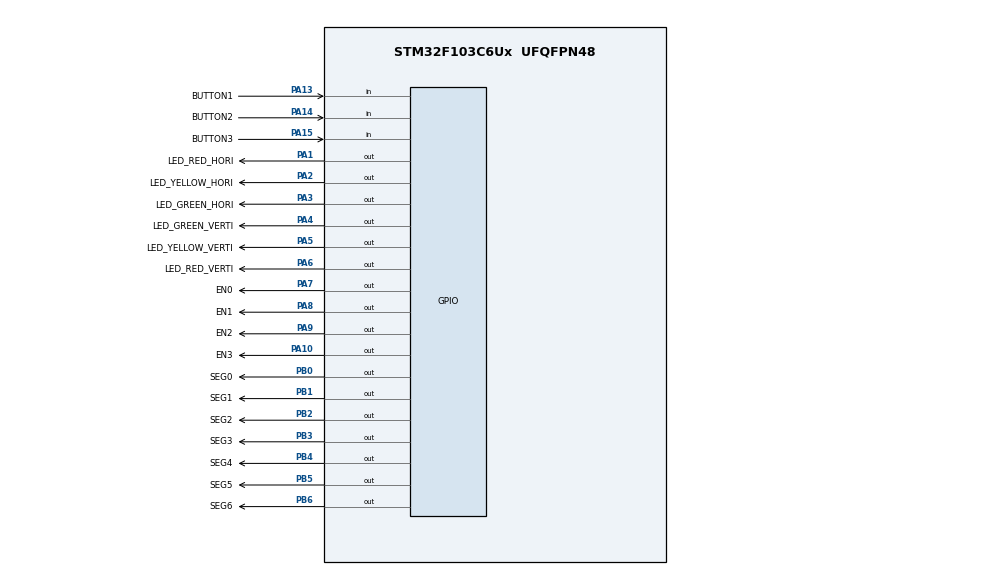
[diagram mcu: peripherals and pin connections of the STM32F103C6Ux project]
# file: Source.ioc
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Mcu.Family=STM32F1
Mcu.Name=STM32F103C6Ux
Mcu.Package=UFQFPN48
NVIC.PriorityGroup=NVIC_PRIORITYGROUP_4
NVIC.TIM2_IRQn=true\:0\:0\:false\:false\:true\:true\:true
PA1.GPIO_Label=LED_RED_HORI
PA1.Signal=GPIO_Output
PA10.GPIO_Label=EN3
PA10.Signal=GPIO_Output
PA13.GPIO_Label=BUTTON1
PA13.GPIO_PuPd=GPIO_PULLUP
PA13.Signal=GPIO_Input
PA14.GPIO_Label=BUTTON2
PA14.GPIO_PuPd=GPIO_PULLUP
PA14.Signal=GPIO_Input
PA15.GPIO_Label=BUTTON3
PA15.GPIO_PuPd=GPIO_PULLUP
PA15.Signal=GPIO_Input
PA2.GPIO_Label=LED_YELLOW_HORI
PA2.Signal=GPIO_Output
PA3.GPIO_Label=LED_GREEN_HORI
PA3.Signal=GPIO_Output
PA4.GPIO_Label=LED_GREEN_VERTI
PA4.Signal=GPIO_Output
PA5.GPIO_Label=LED_YELLOW_VERTI
PA5.Signal=GPIO_Output
PA6.GPIO_Label=LED_RED_VERTI
PA6.Signal=GPIO_Output
PA7.GPIO_Label=EN0
PA7.Signal=GPIO_Output
PA8.GPIO_Label=EN1
PA8.Signal=GPIO_Output
PA9.GPIO_Label=EN2
PA9.Signal=GPIO_Output
PB0.GPIO_Label=SEG0
PB0.Signal=GPIO_Output
PB1.GPIO_Label=SEG1
PB1.Signal=GPIO_Output
PB2.GPIO_Label=SEG2
PB2.Signal=GPIO_Output
PB3.GPIO_Label=SEG3
PB3.Signal=GPIO_Output
PB4.GPIO_Label=SEG4
PB4.Signal=GPIO_Output
PB5.GPIO_Label=SEG5
PB5.Signal=GPIO_Output
PB6.GPIO_Label=SEG6
PB6.Signal=GPIO_Output
ProjectManager.HeapSize=0x200
ProjectManager.StackSize=0x400
ProjectManager.TargetToolchain=STM32CubeIDE
RCC.APB1Freq_Value=8000000
RCC.APB2Freq_Value=8000000
TIM2.Period=9
TIM2.Prescaler=7999
VP_SYS_VS_ND.Mode=No_Debug
VP_TIM2_VS_ClockSourceINT.Mode=Internal
board=custom

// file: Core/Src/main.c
/* USER CODE BEGIN Header */
/**
  ******************************************************************************
  * @file           : main.c
  * @brief          : Main program body
  ******************************************************************************
  * @attention
  *
  * <h2><center>&copy; Copyright (c) 2023 STMicroelectronics.
  * All rights reserved.</center></h2>
  *
  * This software component is licensed by ST under BSD 3-Clause license,
  * the "License"; You may not use this file except in compliance with the
  * License. You may obtain a copy of the License at:
  *                        opensource.org/licenses/BSD-3-Clause
  *
  ******************************************************************************
  */
/* USER CODE END Header */
#include "main.h"

/* USER CODE BEGIN Includes */
#include "software_timer.h"
#include "button.h"
#include "fsm_automatic.h"
#include "fsm_manual.h"
/* USER CODE END Includes */

TIM_HandleTypeDef htim2;

void SystemClock_Config(void);
static void MX_GPIO_Init(void);
static void MX_TIM2_Init(void);

int main(void)
{

  /* MCU Configuration--------------------------------------------------------*/

  /* Reset of all peripherals, Initializes the Flash interface and the Systick. */
  HAL_Init();

  /* Configure the system clock */
  SystemClock_Config();

  /* Initialize all configured peripherals */
  MX_GPIO_Init();
  MX_TIM2_Init();
  /* USER CODE BEGIN 2 */
  HAL_TIM_Base_Start_IT(&htim2);
  /* USER CODE END 2 */

  /* Infinite loop */
  /* USER CODE BEGIN WHILE */
  while (1)
  {
	  fsm_automatic_run();
	  fsm_manual_run();
    /* USER CODE END WHILE */

  }
}

void SystemClock_Config(void)
{
  RCC_OscInitTypeDef RCC_OscInitStruct = {0};
  RCC_ClkInitTypeDef RCC_ClkInitStruct = {0};

  /** Initializes the RCC Oscillators according to the specified parameters
  * in the RCC_OscInitTypeDef structure.
  */
  RCC_OscInitStruct.OscillatorType = RCC_OSCILLATORTYPE_HSI;
  RCC_OscInitStruct.HSIState = RCC_HSI_ON;
  RCC_OscInitStruct.HSICalibrationValue = RCC_HSICALIBRATION_DEFAULT;
  RCC_OscInitStruct.PLL.PLLState = RCC_PLL_NONE;
  if (HAL_RCC_OscConfig(&RCC_OscInitStruct) != HAL_OK)
  {
    Error_Handler();
  }
  /** Initializes the CPU, AHB and APB buses clocks
  */
  RCC_ClkInitStruct.ClockType = RCC_CLOCKTYPE_HCLK|RCC_CLOCKTYPE_SYSCLK
                              |RCC_CLOCKTYPE_PCLK1|RCC_CLOCKTYPE_PCLK2;
  RCC_ClkInitStruct.SYSCLKSource = RCC_SYSCLKSOURCE_HSI;
  RCC_ClkInitStruct.AHBCLKDivider = RCC_SYSCLK_DIV1;
  RCC_ClkInitStruct.APB1CLKDivider = RCC_HCLK_DIV1;
  RCC_ClkInitStruct.APB2CLKDivider = RCC_HCLK_DIV1;

  if (HAL_RCC_ClockConfig(&RCC_ClkInitStruct, FLASH_LATENCY_0) != HAL_OK)
  {
    Error_Handler();
  }
}

static void MX_TIM2_Init(void)
{

  TIM_ClockConfigTypeDef sClockSourceConfig = {0};
  TIM_MasterConfigTypeDef sMasterConfig = {0};

  htim2.Instance = TIM2;
  htim2.Init.Prescaler = 7999;
  htim2.Init.CounterMode = TIM_COUNTERMODE_UP;
  htim2.Init.Period = 9;
  htim2.Init.ClockDivision = TIM_CLOCKDIVISION_DIV1;
  htim2.Init.AutoReloadPreload = TIM_AUTORELOAD_PRELOAD_DISABLE;
  if (HAL_TIM_Base_Init(&htim2) != HAL_OK)
  {
    Error_Handler();
  }
  sClockSourceConfig.ClockSource = TIM_CLOCKSOURCE_INTERNAL;
  if (HAL_TIM_ConfigClockSource(&htim2, &sClockSourceConfig) != HAL_OK)
  {
    Error_Handler();
  }
  sMasterConfig.MasterOutputTrigger = TIM_TRGO_RESET;
  sMasterConfig.MasterSlaveMode = TIM_MASTERSLAVEMODE_DISABLE;
  if (HAL_TIMEx_MasterConfigSynchronization(&htim2, &sMasterConfig) != HAL_OK)
  {
    Error_Handler();
  }

}

static void MX_GPIO_Init(void)
{
  GPIO_InitTypeDef GPIO_InitStruct = {0};

  /* GPIO Ports Clock Enable */
  __HAL_RCC_GPIOA_CLK_ENABLE();
  __HAL_RCC_GPIOB_CLK_ENABLE();

  /*Configure GPIO pin Output Level */
  HAL_GPIO_WritePin(GPIOA, LED_RED_HORI_Pin|LED_YELLOW_HORI_Pin|LED_GREEN_HORI_Pin|LED_GREEN_VERTI_Pin
                          |LED_YELLOW_VERTI_Pin|LED_RED_VERTI_Pin|EN0_Pin|EN1_Pin
                          |EN2_Pin|EN3_Pin, GPIO_PIN_RESET);

  /*Configure GPIO pin Output Level */
  HAL_GPIO_WritePin(GPIOB, SEG0_Pin|SEG1_Pin|SEG2_Pin|SEG3_Pin
                          |SEG4_Pin|SEG5_Pin|SEG6_Pin, GPIO_PIN_RESET);

  /*Configure GPIO pins : LED_RED_HORI_Pin LED_YELLOW_HORI_Pin LED_GREEN_HORI_Pin LED_GREEN_VERTI_Pin
                           LED_YELLOW_VERTI_Pin LED_RED_VERTI_Pin EN0_Pin EN1_Pin
                           EN2_Pin EN3_Pin */
  GPIO_InitStruct.Pin = LED_RED_HORI_Pin|LED_YELLOW_HORI_Pin|LED_GREEN_HORI_Pin|LED_GREEN_VERTI_Pin
                          |LED_YELLOW_VERTI_Pin|LED_RED_VERTI_Pin|EN0_Pin|EN1_Pin
                          |EN2_Pin|EN3_Pin;
  GPIO_InitStruct.Mode = GPIO_MODE_OUTPUT_PP;
  GPIO_InitStruct.Pull = GPIO_NOPULL;
  GPIO_InitStruct.Speed = GPIO_SPEED_FREQ_LOW;
  HAL_GPIO_Init(GPIOA, &GPIO_InitStruct);

  /*Configure GPIO pins : SEG0_Pin SEG1_Pin SEG2_Pin SEG3_Pin
                           SEG4_Pin SEG5_Pin SEG6_Pin */
  GPIO_InitStruct.Pin = SEG0_Pin|SEG1_Pin|SEG2_Pin|SEG3_Pin
                          |SEG4_Pin|SEG5_Pin|SEG6_Pin;
  GPIO_InitStruct.Mode = GPIO_MODE_OUTPUT_PP;
  GPIO_InitStruct.Pull = GPIO_NOPULL;
  GPIO_InitStruct.Speed = GPIO_SPEED_FREQ_LOW;
  HAL_GPIO_Init(GPIOB, &GPIO_InitStruct);

  /*Configure GPIO pins : BUTTON1_Pin BUTTON2_Pin BUTTON3_Pin */
  GPIO_InitStruct.Pin = BUTTON1_Pin|BUTTON2_Pin|BUTTON3_Pin;
  GPIO_InitStruct.Mode = GPIO_MODE_INPUT;
  GPIO_InitStruct.Pull = GPIO_PULLUP;
  HAL_GPIO_Init(GPIOA, &GPIO_InitStruct);

}

/* USER CODE BEGIN 4 */
void HAL_TIM_PeriodElapsedCallback(TIM_HandleTypeDef *htim){
	timerRun(0); // led duration
	timerRun(1); //  7-segment counter
	timerRun(2); // 7-segment display
	timerRun(3); // blinking led
	getKeyInput(1);
	getKeyInput(2);
	getKeyInput(3);

};
/* USER CODE END 4 */

void Error_Handler(void)
{
  __disable_irq();
  while (1)
  {
  }
}

/************************ (C) COPYRIGHT STMicroelectronics *****END OF FILE****/
